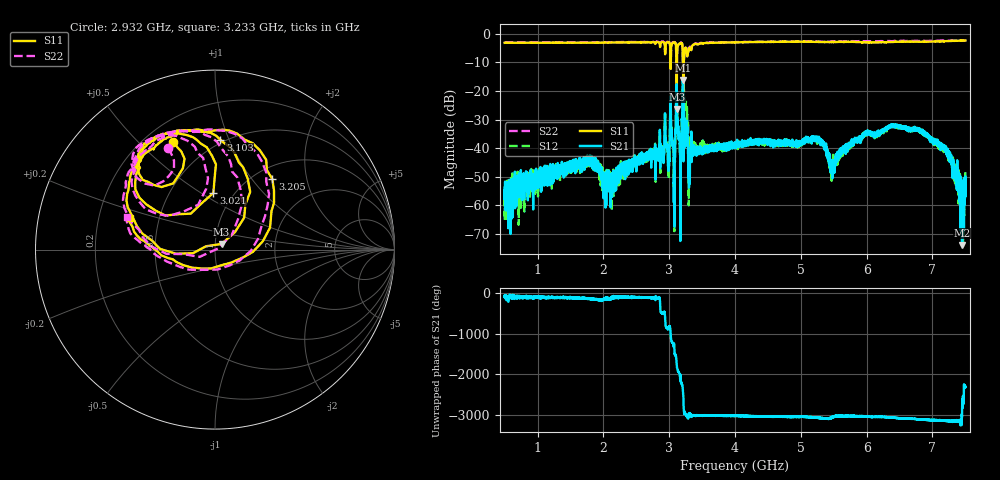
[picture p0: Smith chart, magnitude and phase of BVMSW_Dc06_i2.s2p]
!Keysight Technologies,M9374A,MY55442783,A.12.55.05
!Date: Friday, May 21, 2021 09:42:06
!Correction: S11(Full 2 Port(1,2))
!S21(Full 2 Port(1,2))
!S12(Full 2 Port(1,2))
!S22(Full 2 Port(1,2))
!S2P File: Measurements: S11, S21, S12, S22:
# Hz S  RI  R 50
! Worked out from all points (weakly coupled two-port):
!   7001 points, 500 MHz to 7.5 GHz, reference 50 ohm
!   highest |S21| = -16.22 dB at 3.209 GHz (marker M1); lowest = -73.8 dB at 7.449 GHz (marker M2)
!   lowest |S11| = -26.3 dB at 3.114 GHz (marker M3), VSWR 1.10, Z = 53.7 + j3.4 ohm
!   |S11| at or under -10 dB: 3.020994 GHz to 3.024665 GHz (3.67 MHz wide, 0.121 % of centre); 3.110776 GHz to 3.118225 GHz (7.448 MHz wide, 0.239 % of centre); 3.209214 GHz to 3.222666 GHz (13.45 MHz wide, 0.418 % of centre)
!   |S22| runs from -34.5 to -2.4 dB; largest |S21 - S12| = 0.083
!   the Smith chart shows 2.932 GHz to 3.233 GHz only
!   S11 on the Smith chart (normalised r, x): 2.932 GHz: 0.31, +0.64; 3.021 GHz: 0.81, +0.56; 3.103 GHz: 0.48, +0.93; 3.205 GHz: 1.21, +1.27; 3.233 GHz: 0.34, +0.16
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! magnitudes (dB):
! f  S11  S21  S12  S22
! 500 MHz  -3.2  -54.9  -57.0  -3.0
! 1.667 GHz  -3.2  -44.6  -45.5  -3.0
! 2.118 GHz  -3.1  -54.3  -53.1  -3.0
! 2.834 GHz  -3.0  -41.9  -42.9  -2.9
! 2.932 GHz  -3.8  -32.1  -32.3  -4.1
! 3.021 GHz  -10.0  -21.8  -22.1  -11.5
! 3.065 GHz  -3.1  -39.6  -40.0  -3.0
! 3.103 GHz  -4.3  -26.8  -26.4  -4.9
! 3.114 GHz  -26.3  -18.2  -18.2  -20.5
! 3.164 GHz  -3.5  -38.6  -42.2  -3.4
! 3.205 GHz  -5.9  -17.8  -18.1  -7.3
! 3.209 GHz  -9.6  -16.2  -15.7  -12.2
! 3.233 GHz  -5.9  -32.9  -24.8  -5.6
! 3.328 GHz  -5.5  -39.8  -39.1  -5.5
! 4 GHz  -3.0  -38.9  -39.4  -3.0
! 5.167 GHz  -2.8  -35.9  -36.8  -2.7
! 5.48 GHz  -2.9  -45.7  -45.4  -2.8
! 6.334 GHz  -2.9  -32.3  -32.6  -2.6
! 7.17 GHz  -2.7  -40.4  -39.6  -2.4
! 7.372 GHz  -2.5  -51.0  -50.9  -2.5
! 7.449 GHz  -2.4  -73.8  -57.7  -2.4
! 7.5 GHz  -2.4  -51.2  -47.6  -2.4
